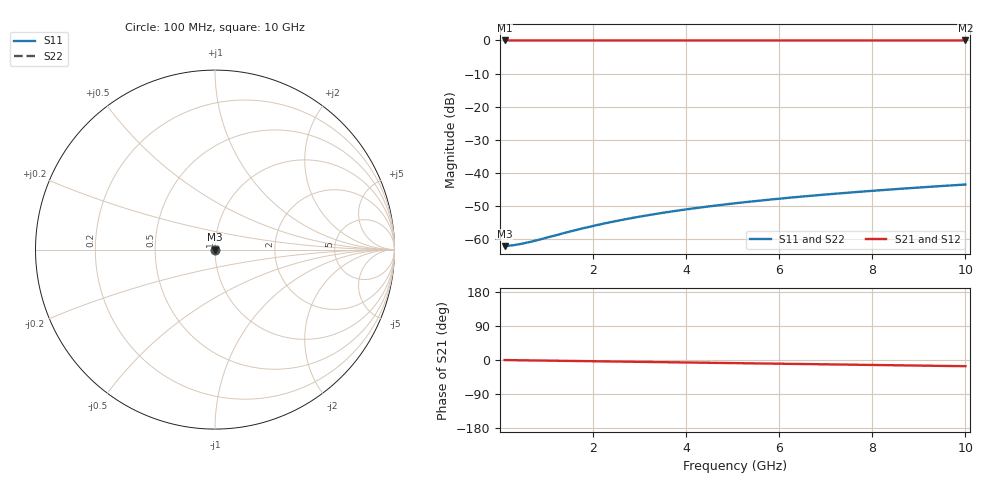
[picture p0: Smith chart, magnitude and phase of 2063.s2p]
# Hz S RI R 50.00
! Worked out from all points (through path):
!   100 points, 100 MHz to 10 GHz, reference 50 ohm
!   highest |S21| = -0.01 dB at 100 MHz (marker M1); lowest = 0.0 dB at 10 GHz (marker M2)
!   group delay of S21, straight-line fit = 4.55 ps
!   lowest |S11| = -62.2 dB at 100 MHz (marker M3), VSWR 1.00, Z = 50.1 + j0.00661 ohm
!   |S11| at or under -10 dB: start of sweep to end of sweep
!   |S22| runs from -62.2 to -43.6 dB; largest |S21 - S12| = 0
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1e8  0.000772 6.6e-05  0.9992 -0.00284  0.9992 -0.00284  0.000772 6.6e-05
2e8  0.000777 0.000132  0.9992 -0.00567  0.9992 -0.00567  0.000777 0.000132
3e8  0.00078 0.000198  0.9992 -0.00851  0.9992 -0.00851  0.00078 0.000198
4e8  0.000783 0.000264  0.9991 -0.0113  0.9991 -0.0113  0.000783 0.000264
6e8  0.00079 0.000396  0.9991 -0.017  0.9991 -0.017  0.00079 0.000396
8e8  0.000797 0.000527  0.9989 -0.0227  0.9989 -0.0227  0.000797 0.000527
1.4e9  0.000824 0.000919  0.9984 -0.0397  0.9984 -0.0397  0.000824 0.000919
1.8e9  0.000848 0.00118  0.9979 -0.0511  0.9979 -0.0511  0.000848 0.00118
2.2e9  0.000878 0.00144  0.9972 -0.0624  0.9972 -0.0624  0.000878 0.00144
2.6e9  0.000913 0.00169  0.9964 -0.0738  0.9964 -0.0738  0.000913 0.00169
3e9  0.000954 0.00194  0.9955 -0.0851  0.9955 -0.0851  0.000954 0.00194
3.4e9  0.001 0.0022  0.9945 -0.0964  0.9945 -0.0964  0.001 0.0022
3.8e9  0.00105 0.00245  0.9933 -0.1078  0.9933 -0.1078  0.00105 0.00245
4.2e9  0.00111 0.00269  0.992 -0.1191  0.992 -0.1191  0.00111 0.00269
4.6e9  0.00117 0.00294  0.9905 -0.1304  0.9905 -0.1304  0.00117 0.00294
5.1e9  0.00126 0.00324  0.9886 -0.1445  0.9886 -0.1445  0.00126 0.00324
5.9e9  0.00142 0.00372  0.985 -0.1671  0.985 -0.1671  0.00142 0.00372
6.7e9  0.0016 0.0042  0.9809 -0.1896  0.9809 -0.1896  0.0016 0.0042
7.5e9  0.0018 0.00467  0.9763 -0.212  0.9763 -0.212  0.0018 0.00467
8.4e9  0.00205 0.00519  0.9704 -0.2372  0.9704 -0.2372  0.00205 0.00519
9.2e9  0.0023 0.00565  0.9647 -0.2595  0.9647 -0.2595  0.0023 0.00565
1e10  0.00258 0.00611  0.9584 -0.2816  0.9584 -0.2816  0.00258 0.00611
